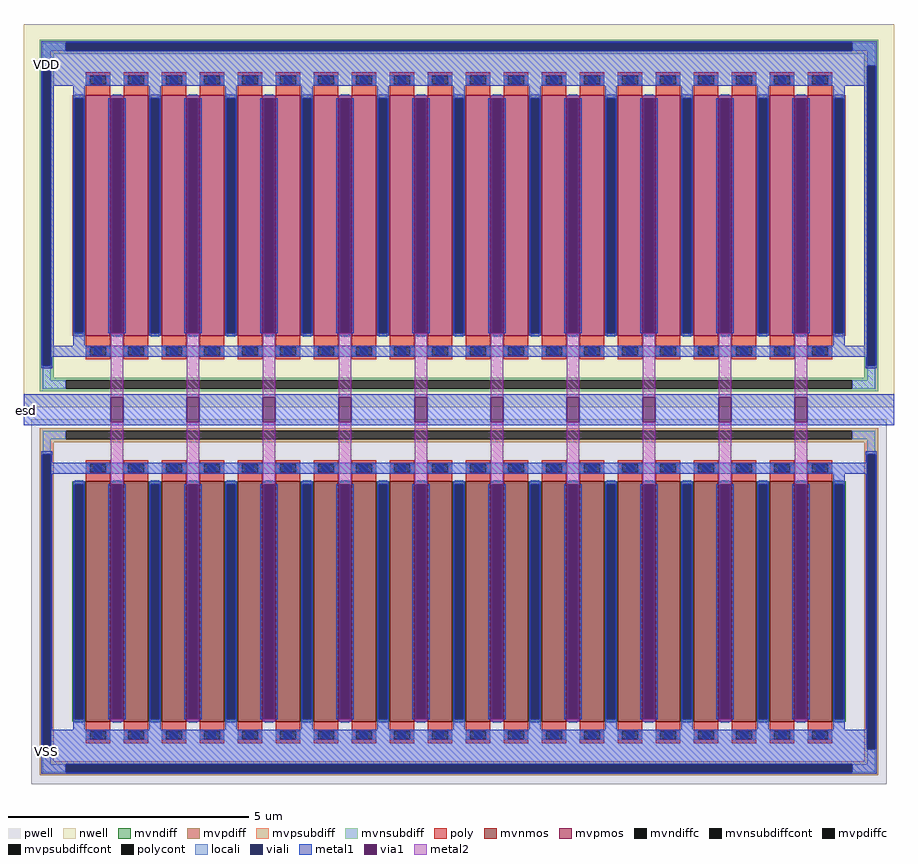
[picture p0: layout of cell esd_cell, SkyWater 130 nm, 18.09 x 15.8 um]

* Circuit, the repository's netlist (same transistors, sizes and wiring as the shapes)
* esd_cell spice

.subckt esd_cell esd VDD VSS
XM1 esd VSS VSS VSS sky130_fd_pr__nfet_g5v0d10v5 L=0.5 W=5 nf=1 ad='int((nf+1)/2) * W/nf * 0.29' as='int((nf+2)/2) * W/nf * 0.29'
+ pd='2*int((nf+1)/2) * (W/nf + 0.29)' ps='2*int((nf+2)/2) * (W/nf + 0.29)' nrd='0.29 / W' nrs='0.29 / W'
+ sa=0 sb=0 sd=0 mult=20 m=20 
XM2 esd VDD VDD VDD sky130_fd_pr__pfet_g5v0d10v5 L=0.5 W=5 nf=1 ad='int((nf+1)/2) * W/nf * 0.29' as='int((nf+2)/2) * W/nf * 0.29'
+ pd='2*int((nf+1)/2) * (W/nf + 0.29)' ps='2*int((nf+2)/2) * (W/nf + 0.29)' nrd='0.29 / W' nrs='0.29 / W'
+ sa=0 sb=0 sd=0 mult=20 m=20 
.ends

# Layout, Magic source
magic
tech sky130A
magscale 1 2
<< nwell >>
rect 1090 2797 1136 2843
rect 1406 2797 1452 2843
rect 1722 2797 1768 2843
rect 2038 2797 2084 2843
rect 2354 2797 2400 2843
rect 2670 2797 2716 2843
rect 2986 2797 3032 2843
rect 3302 2797 3348 2843
rect 142 1712 188 1815
rect 3302 1758 3348 1799
rect 3141 1502 3193 1545
<< pwell >>
rect 3141 1441 3193 1452
rect 3302 1190 3348 1235
rect 142 116 188 206
rect 458 116 504 206
rect 774 116 820 206
rect 1090 116 1136 206
rect 1406 116 1452 206
rect 1722 116 1768 206
rect 2038 116 2084 206
rect 2354 116 2400 206
rect 2670 116 2716 206
rect 2986 116 3032 206
rect 3302 159 3348 205
<< mvndiff >>
rect 142 194 188 206
rect 458 194 504 206
rect 774 194 820 206
rect 1090 194 1136 206
rect 1406 194 1452 206
rect 1722 194 1768 206
rect 2038 194 2084 206
rect 2354 194 2400 206
rect 2670 194 2716 206
rect 2986 194 3032 206
<< mvpdiff >>
rect 1090 2797 1136 2799
rect 1406 2797 1452 2799
rect 1722 2797 1768 2799
rect 2038 2797 2084 2799
rect 2354 2797 2400 2799
rect 2670 2797 2716 2799
rect 2986 2797 3032 2799
rect 3302 2797 3348 2799
<< locali >>
rect 1096 2797 1130 2803
rect 1412 2797 1446 2803
rect 1728 2797 1762 2803
rect 2044 2797 2078 2803
rect 2360 2797 2394 2803
rect 2676 2797 2710 2803
rect 2992 2797 3026 2803
rect 3308 2797 3342 2803
rect 148 190 182 206
rect 464 190 498 206
rect 780 190 814 206
rect 1096 190 1130 206
rect 1412 190 1446 206
rect 1728 190 1762 206
rect 2044 190 2078 206
rect 2360 190 2394 206
rect 2676 190 2710 206
rect 2992 190 3026 206
<< viali >>
rect 110 2984 3380 3018
rect 14 1676 48 2922
rect 3442 1676 3476 2922
rect 14 80 48 1308
rect 3442 80 3476 1308
rect 110 -16 3380 18
<< metal1 >>
rect 8 3018 3482 3024
rect 8 2984 110 3018
rect 3380 2984 3482 3018
rect 8 2922 3482 2984
rect 8 1676 14 2922
rect 48 2840 3442 2922
rect 48 1758 60 2840
rect 142 2790 188 2840
rect 458 2796 504 2840
rect 774 2797 820 2840
rect 1090 2797 1136 2840
rect 1406 2797 1452 2840
rect 1722 2797 1768 2840
rect 2038 2797 2084 2840
rect 2354 2797 2400 2840
rect 2670 2797 2716 2840
rect 2986 2797 3032 2840
rect 3302 2797 3348 2840
rect 142 1758 188 1815
rect 287 1811 297 2787
rect 349 1811 359 2787
rect 603 1811 613 2787
rect 665 1811 675 2787
rect 919 1811 929 2787
rect 981 1811 991 2787
rect 1235 1811 1245 2787
rect 1297 1811 1307 2787
rect 1551 1811 1561 2787
rect 1613 1811 1623 2787
rect 1867 1811 1877 2787
rect 1929 1811 1939 2787
rect 2183 1811 2193 2787
rect 2245 1811 2255 2787
rect 2499 1811 2509 2787
rect 2561 1811 2571 2787
rect 2815 1811 2825 2787
rect 2877 1811 2887 2787
rect 3131 1811 3141 2787
rect 3193 1811 3203 2787
rect 3302 1758 3348 1799
rect 3430 1758 3442 2840
rect 48 1712 3442 1758
rect 48 1676 54 1712
rect 8 1664 54 1676
rect 3436 1676 3442 1712
rect 3476 1676 3482 2922
rect 3436 1664 3482 1676
rect -64 1545 3554 1556
rect -64 1441 297 1545
rect 349 1441 613 1545
rect 665 1441 929 1545
rect 981 1441 1245 1545
rect 1297 1441 1561 1545
rect 1613 1441 1877 1545
rect 1929 1441 2193 1545
rect 2245 1441 2509 1545
rect 2561 1441 2825 1545
rect 2877 1441 3141 1545
rect 3193 1441 3554 1545
rect -64 1428 3554 1441
rect 8 1308 54 1320
rect 8 80 14 1308
rect 48 1272 54 1308
rect 3436 1308 3482 1320
rect 3436 1272 3442 1308
rect 48 1226 3442 1272
rect 48 162 54 1226
rect 3302 1190 3348 1226
rect 287 206 297 1182
rect 349 206 359 1182
rect 603 206 613 1182
rect 665 206 675 1182
rect 919 206 929 1182
rect 981 206 991 1182
rect 1235 206 1245 1182
rect 1297 206 1307 1182
rect 1551 206 1561 1182
rect 1613 206 1623 1182
rect 1867 206 1877 1182
rect 1929 206 1939 1182
rect 2183 206 2193 1182
rect 2245 206 2255 1182
rect 2499 206 2509 1182
rect 2561 206 2571 1182
rect 2815 206 2825 1182
rect 2877 206 2887 1182
rect 3131 206 3141 1182
rect 3193 206 3203 1182
rect 142 162 188 206
rect 458 162 504 206
rect 774 162 820 206
rect 1090 162 1136 206
rect 1406 162 1452 206
rect 1722 162 1768 206
rect 2038 162 2084 206
rect 2354 162 2400 206
rect 2670 162 2716 206
rect 2986 162 3032 206
rect 3302 162 3348 205
rect 3436 162 3442 1226
rect 48 80 3442 162
rect 3476 80 3482 1308
rect 8 18 3482 80
rect 8 -16 110 18
rect 3380 -16 3482 18
rect 8 -22 3482 -16
<< via1 >>
rect 297 1811 349 2787
rect 613 1811 665 2787
rect 929 1811 981 2787
rect 1245 1811 1297 2787
rect 1561 1811 1613 2787
rect 1877 1811 1929 2787
rect 2193 1811 2245 2787
rect 2509 1811 2561 2787
rect 2825 1811 2877 2787
rect 3141 1811 3193 2787
rect 297 1441 349 1545
rect 613 1441 665 1545
rect 929 1441 981 1545
rect 1245 1441 1297 1545
rect 1561 1441 1613 1545
rect 1877 1441 1929 1545
rect 2193 1441 2245 1545
rect 2509 1441 2561 1545
rect 2825 1441 2877 1545
rect 3141 1441 3193 1545
rect 297 206 349 1182
rect 613 206 665 1182
rect 929 206 981 1182
rect 1245 206 1297 1182
rect 1561 206 1613 1182
rect 1877 206 1929 1182
rect 2193 206 2245 1182
rect 2509 206 2561 1182
rect 2825 206 2877 1182
rect 3141 206 3193 1182
<< metal2 >>
rect 297 2787 349 2797
rect 297 1545 349 1811
rect 297 1182 349 1441
rect 297 196 349 206
rect 613 2787 665 2797
rect 613 1545 665 1811
rect 613 1182 665 1441
rect 613 196 665 206
rect 929 2787 981 2797
rect 929 1545 981 1811
rect 929 1182 981 1441
rect 929 196 981 206
rect 1245 2787 1297 2797
rect 1245 1545 1297 1811
rect 1245 1182 1297 1441
rect 1245 196 1297 206
rect 1561 2787 1613 2797
rect 1561 1545 1613 1811
rect 1561 1182 1613 1441
rect 1561 196 1613 206
rect 1877 2787 1929 2797
rect 1877 1545 1929 1811
rect 1877 1182 1929 1441
rect 1877 196 1929 206
rect 2193 2787 2245 2797
rect 2193 1545 2245 1811
rect 2193 1182 2245 1441
rect 2193 196 2245 206
rect 2509 2787 2561 2797
rect 2509 1545 2561 1811
rect 2509 1182 2561 1441
rect 2509 196 2561 206
rect 2825 2787 2877 2797
rect 2825 1545 2877 1811
rect 2825 1182 2877 1441
rect 2825 196 2877 206
rect 3141 2787 3193 2797
rect 3141 1545 3193 1811
rect 3141 1182 3193 1441
rect 3141 196 3193 206
use sky130_fd_pr__nfet_g5v0d10v5_BRTJC6  sky130_fd_pr__nfet_g5v0d10v5_BRTJC6_0
transform 1 0 1745 0 1 694
box -1779 -758 1779 758
use sky130_fd_pr__pfet_g5v0d10v5_CADZ46  sky130_fd_pr__pfet_g5v0d10v5_CADZ46_0
transform 1 0 1745 0 1 2299
box -1809 -797 1809 797
<< labels >>
flabel metal1 -53 1488 -53 1488 1 FreeSans 400 0 0 0 esd
port 1 n
flabel metal1 31 2928 31 2928 1 FreeSans 400 0 0 0 VDD
port 2 n power bidirectional
flabel metal1 31 72 31 72 1 FreeSans 400 0 0 0 VSS
port 3 n power bidirectional
<< end >>

# cell sky130_fd_pr__nfet_g5v0d10v5_BRTJC6: kit device sky130_fd_pr__nfet_g5v0d10v5, w 5 l 0.5 m 1 nf 20 diffcov 100 polycov 100 guard 1 glc 1 grc 1 gtc 1 gbc 1 tbcov 100 rlcov 100 topc 1 botc 1 poverlap 0 doverlap 1 lmin 0.50 wmin 0.42 compatible {sky130_fd_pr__nfet_01v8 sky130_fd_pr__nfet_01v8_lvt sky130_fd_bs_flash__special_sonosfet_star sky130_fd_pr__nfet_g5v0d10v5 sky130_fd_pr__nfet_05v0_nvt sky130_fd_pr__nfet_03v3_nvt} full_metal 1 viasrc 100 viadrn 100 viagate 100 viagb 0 viagr 0 viagl 0 viagt 0

# cell sky130_fd_pr__pfet_g5v0d10v5_CADZ46: kit device sky130_fd_pr__pfet_g5v0d10v5, w 5 l 0.5 m 1 nf 20 diffcov 100 polycov 100 guard 1 glc 1 grc 1 gtc 1 gbc 1 tbcov 100 rlcov 100 topc 1 botc 1 poverlap 0 doverlap 1 lmin 0.50 wmin 0.42 compatible {sky130_fd_pr__pfet_01v8 sky130_fd_pr__pfet_01v8_lvt sky130_fd_pr__pfet_01v8_hvt sky130_fd_pr__pfet_g5v0d10v5} full_metal 1 viasrc 100 viadrn 100 viagate 100 viagb 0 viagr 0 viagl 0 viagt 0
